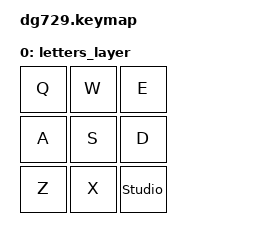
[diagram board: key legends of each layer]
#include <behaviors.dtsi>
#include <dt-bindings/zmk/bt.h>
#include <dt-bindings/zmk/keys.h>
#include <dt-bindings/zmk/outputs.h>

/ {
  keymap0: keymap {
    compatible = "zmk,keymap";

    letters_layer {
      bindings = <
        &kp Q  &kp W  &kp E
        &kp A  &kp S  &kp D
        &kp Z  &kp X  &studio_unlock
      >;
    };
  };
};
